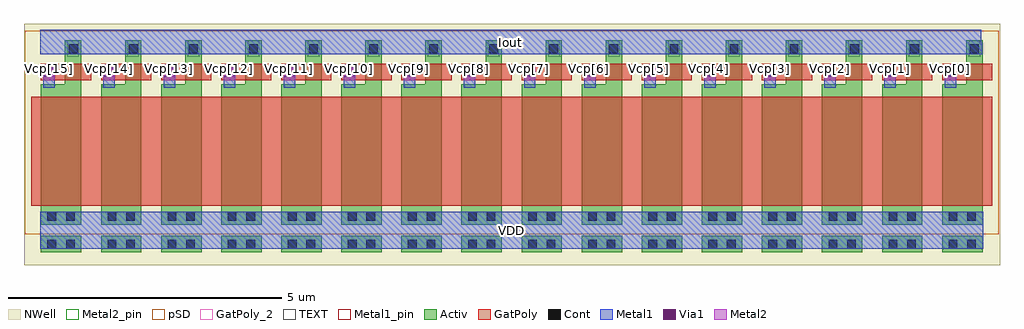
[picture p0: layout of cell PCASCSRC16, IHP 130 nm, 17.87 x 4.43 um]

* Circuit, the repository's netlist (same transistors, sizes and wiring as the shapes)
** sch_path: /home/cmaier/EDA/PUDDING/xschem/pcascsrc16.sch
.subckt pcascsrc16 VDD Vbp Vcp[15] Vcp[14] Vcp[13] Vcp[12] Vcp[11] Vcp[10] Vcp[9] Vcp[8] Vcp[7] Vcp[6] Vcp[5] Vcp[4] Vcp[3] Vcp[2]
+ Vcp[1] Vcp[0] Iout
*.PININFO Vcp[15:0]:I Vbp:I Iout:O VDD:I
xsrc[15] VDD Vbp Vcp[15] Iout pcascsrc
xsrc[14] VDD Vbp Vcp[14] Iout pcascsrc
xsrc[13] VDD Vbp Vcp[13] Iout pcascsrc
xsrc[12] VDD Vbp Vcp[12] Iout pcascsrc
xsrc[11] VDD Vbp Vcp[11] Iout pcascsrc
xsrc[10] VDD Vbp Vcp[10] Iout pcascsrc
xsrc[9] VDD Vbp Vcp[9] Iout pcascsrc
xsrc[8] VDD Vbp Vcp[8] Iout pcascsrc
xsrc[7] VDD Vbp Vcp[7] Iout pcascsrc
xsrc[6] VDD Vbp Vcp[6] Iout pcascsrc
xsrc[5] VDD Vbp Vcp[5] Iout pcascsrc
xsrc[4] VDD Vbp Vcp[4] Iout pcascsrc
xsrc[3] VDD Vbp Vcp[3] Iout pcascsrc
xsrc[2] VDD Vbp Vcp[2] Iout pcascsrc
xsrc[1] VDD Vbp Vcp[1] Iout pcascsrc
xsrc[0] VDD Vbp Vcp[0] Iout pcascsrc
.ends

* expanding   symbol:  pcascsrc.sym # of pins=4
** sym_path: /home/cmaier/EDA/PUDDING/xschem/pcascsrc.sym
** sch_path: /home/cmaier/EDA/PUDDING/xschem/pcascsrc.sch
.subckt pcascsrc VDD VbiasP VcascodeP Iout
*.PININFO VcascodeP:I VbiasP:I Iout:O VDD:I
Msrc drain VbiasP VDD VDD sg13_lv_pmos w=0.74u l=2u ng=1 m=1
Mcasc Iout VcascodeP drain VDD sg13_lv_pmos w=0.3u l=0.3u ng=1 m=1
.ends

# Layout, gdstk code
import gdstk
lib = gdstk.Library(unit=1e-6, precision=1e-09)
def R(c, l, rs):  # rectangles x0, y0, x1, y1
    for r in rs: c.add(gdstk.rectangle(r[:2], r[2:], *l))
def A(c, l, x, y, w, h, nx, ny, dx, dy):  # array of equal rectangles
    R(c, l, [(x+i*dx, y+j*dy, x+i*dx+w, y+j*dy+h) for i in range(nx) for j in range(ny)])
Activ = (1, 0)
GatPoly = (5, 0)
GatPoly_2 = (5, 2)
Cont = (6, 0)
Metal1 = (8, 0)
Metal1_pin = (8, 2)
Metal2 = (10, 0)
Metal2_pin = (10, 2)
pSD = (14, 0)
Via1 = (19, 0)
NWell = (31, 0)
TEXT = (63, 0)

switched_pmos_cascode = lib.new_cell('switched_pmos_cascode')
R(switched_pmos_cascode, Activ, [(0.29,-0.38,0.59,0.58)])
R(switched_pmos_cascode, GatPoly, [(-0.15,-0.15,0.77,0.15)])
R(switched_pmos_cascode, Cont, [(-0.08,-0.08,0.08,0.08), (0.36,0.35,0.52,0.51)])
R(switched_pmos_cascode, Metal1, [(-0.105,-0.285,0.105,0.145), (0.295,0.325,0.585,0.535)])
R(switched_pmos_cascode, Metal2, [(-0.105,-0.145,0.105,0.145)])
R(switched_pmos_cascode, pSD, [(-0.01,-0.56,0.89,0.76)])
R(switched_pmos_cascode, Via1, [(-0.095,-0.095,0.095,0.095)])
R(switched_pmos_cascode, NWell, [(-0.03,-0.79,0.91,0.89)])
R(switched_pmos_cascode, TEXT, [(0.335,0.285,0.545,0.575), (0.345,0.335,0.535,0.525)])

pcascsrc = lib.new_cell('PCASCSRC')
R(pcascsrc, Activ, [(-0.15,-3.3,0.59,-3), (-0.15,-2.79,0.59,-0.22)])
R(pcascsrc, GatPoly, [(-0.33,-2.45,0.77,-0.45)])
R(pcascsrc, GatPoly_2, [(-0.33,-2.45,0.77,-0.45)])
R(pcascsrc, Cont, [(-0.03,-3.23,0.13,-3.07), (0.31,-3.23,0.47,-3.07), (-0.03,-2.72,0.13,-2.56), (0.31,-2.72,0.47,-2.56)])
R(pcascsrc, Metal1, [(-0.08,-3.23,0.52,-2.56)])
R(pcascsrc, Metal1_pin, [(-0.08,-3.23,0.52,-2.56), (0.295,0.325,0.585,0.535)])
R(pcascsrc, Metal2_pin, [(-0.105,-0.145,0.105,0.145)])
R(pcascsrc, pSD, [(-0.45,-2.97,0.89,-0.04)])
R(pcascsrc, NWell, [(-0.46,-3.54,0.9,0.09)])
pcascsrc.add(gdstk.Reference(switched_pmos_cascode, (0,0)))
pcascsrc.add(gdstk.Label('Iout', (0.44,0.43), layer=8, texttype=2))
pcascsrc.add(gdstk.Label('VDD', (0.22,-2.895), layer=8, texttype=2))
pcascsrc.add(gdstk.Label('VcascodeP', (0,0), layer=10, texttype=2))
pcascsrc.add(gdstk.Label('VbiasP', (0.22,-1.45), layer=5, texttype=2))

pcascsrc16 = lib.new_cell('PCASCSRC16')
R(pcascsrc16, Metal1, [(-0.16,-3.23,17.1,-2.56), (-0.16,0.325,17.07,0.775)])
R(pcascsrc16, Metal1_pin, [(-0.16,-3.23,17.1,-2.56), (-0.16,0.325,17.07,0.775)])
A(pcascsrc16, Metal2_pin, -0.105, -0.145, 0.21, 0.29, 16, 1, 1.1, 0)
R(pcascsrc16, pSD, [(-0.45,-0.56,17.39,0.76)])
R(pcascsrc16, NWell, [(-0.46,-3.54,17.41,0.89)])
r = gdstk.Reference(pcascsrc, (0,0)); r.repetition = gdstk.Repetition(16, 1, v1=(1.1,0), v2=(0,0)); pcascsrc16.add(r)
pcascsrc16.add(gdstk.Label('Iout', (8.455,0.55), layer=8, texttype=2))
pcascsrc16.add(gdstk.Label('VDD', (8.47,-2.895), layer=8, texttype=2))
pcascsrc16.add(gdstk.Label('Vcp[15]', (0,0.06), layer=10, texttype=2))
pcascsrc16.add(gdstk.Label('Vcp[14]', (1.1,0.06), layer=10, texttype=2))
pcascsrc16.add(gdstk.Label('Vcp[13]', (2.2,0.06), layer=10, texttype=2))
pcascsrc16.add(gdstk.Label('Vcp[12]', (3.3,0.06), layer=10, texttype=2))
pcascsrc16.add(gdstk.Label('Vcp[11]', (4.4,0.06), layer=10, texttype=2))
pcascsrc16.add(gdstk.Label('Vcp[10]', (5.5,0.06), layer=10, texttype=2))
pcascsrc16.add(gdstk.Label('Vcp[9]', (6.6,0.06), layer=10, texttype=2))
pcascsrc16.add(gdstk.Label('Vcp[8]', (7.7,0.06), layer=10, texttype=2))
pcascsrc16.add(gdstk.Label('Vcp[7]', (8.8,0.06), layer=10, texttype=2))
pcascsrc16.add(gdstk.Label('Vcp[6]', (9.9,0.06), layer=10, texttype=2))
pcascsrc16.add(gdstk.Label('Vcp[5]', (11,0.06), layer=10, texttype=2))
pcascsrc16.add(gdstk.Label('Vcp[4]', (12.1,0.06), layer=10, texttype=2))
pcascsrc16.add(gdstk.Label('Vcp[3]', (13.2,0.06), layer=10, texttype=2))
pcascsrc16.add(gdstk.Label('Vcp[2]', (14.3,0.06), layer=10, texttype=2))
pcascsrc16.add(gdstk.Label('Vcp[1]', (15.4,0.06), layer=10, texttype=2))
pcascsrc16.add(gdstk.Label('Vcp[0]', (16.5,0.06), layer=10, texttype=2))
pcascsrc16.add(gdstk.Label('VDD', (8.47,-2.895), layer=8, texttype=1))

lib.write_gds('PCASCSRC16.gds')
